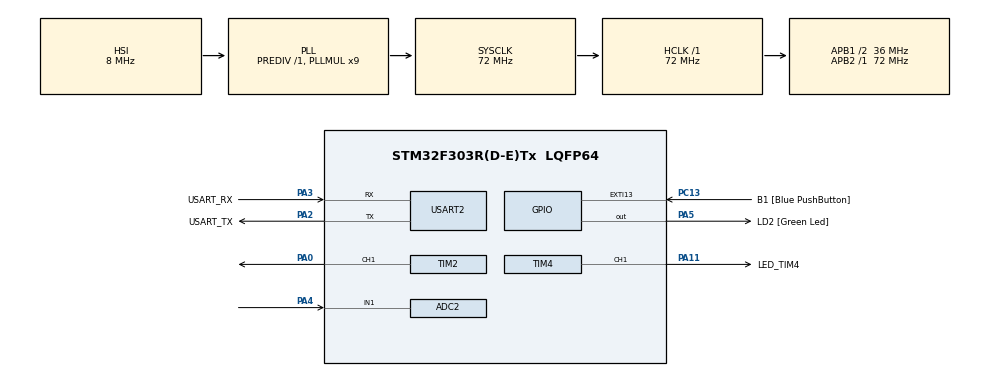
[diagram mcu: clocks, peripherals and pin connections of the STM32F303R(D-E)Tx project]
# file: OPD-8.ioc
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ADC2.Channel-1\#ChannelRegularConversion=ADC_CHANNEL_1
ADC2.NbrOfConversionFlag=1
ADC2.Offset-1\#ChannelRegularConversion=0
ADC2.OffsetNumber-1\#ChannelRegularConversion=ADC_OFFSET_NONE
ADC2.Rank-1\#ChannelRegularConversion=1
ADC2.SamplingTime-1\#ChannelRegularConversion=ADC_SAMPLETIME_1CYCLE_5
ADC2.SamplingTimeOPAMP-1\#ChannelRegularConversion=ADC_SAMPLETIME_61CYCLES_5
Mcu.Family=STM32F3
Mcu.Name=STM32F303R(D-E)Tx
Mcu.Package=LQFP64
NVIC.PriorityGroup=NVIC_PRIORITYGROUP_4
NVIC.TIM2_IRQn=true\:0\:0\:false\:false\:true\:true\:true\:true
PA0.Signal=S_TIM2_CH1_ETR
PA11.GPIO_Label=LED_TIM4
PA11.GPIO_Mode=GPIO_MODE_AF_PP
PA11.GPIO_PuPd=GPIO_NOPULL
PA11.GPIO_Speed=GPIO_SPEED_FREQ_LOW
PA11.Signal=S_TIM4_CH1
PA13.GPIO_Label=TMS
PA13.Mode=Serial_Wire
PA13.Signal=SYS_JTMS-SWDIO
PA14.GPIO_Label=TCK
PA14.Mode=Serial_Wire
PA14.Signal=SYS_JTCK-SWCLK
PA2.GPIO_Label=USART_TX
PA2.GPIO_Mode=GPIO_MODE_AF_PP
PA2.GPIO_PuPd=GPIO_NOPULL
PA2.GPIO_Speed=GPIO_SPEED_FREQ_LOW
PA2.Mode=Asynchronous
PA2.Signal=USART2_TX
PA3.GPIO_Label=USART_RX
PA3.GPIO_Mode=GPIO_MODE_AF_PP
PA3.GPIO_PuPd=GPIO_NOPULL
PA3.GPIO_Speed=GPIO_SPEED_FREQ_LOW
PA3.Mode=Asynchronous
PA3.Signal=USART2_RX
PA4.Mode=IN1-Single-Ended
PA4.Signal=ADC2_IN1
PA5.GPIO_Label=LD2 [Green Led]
PA5.GPIO_Mode=GPIO_MODE_OUTPUT_PP
PA5.GPIO_PuPd=GPIO_NOPULL
PA5.GPIO_Speed=GPIO_SPEED_FREQ_LOW
PA5.Signal=GPIO_Output
PC13.GPIO_Label=B1 [Blue PushButton]
PC13.GPIO_ModeDefaultEXTI=GPIO_MODE_IT_FALLING
PC13.Signal=GPXTI13
PC14-OSC32_IN.Mode=LSE-External-Oscillator
PC14-OSC32_IN.Signal=RCC_OSC32_IN
PC15-OSC32_OUT.Mode=LSE-External-Oscillator
PC15-OSC32_OUT.Signal=RCC_OSC32_OUT
PF0-OSC_IN.Mode=HSE-External-Clock-Source
PF0-OSC_IN.Signal=RCC_OSC_IN
PF1-OSC_OUT.Signal=RCC_OSC_OUT
ProjectManager.HeapSize=0x200
ProjectManager.StackSize=0x400
ProjectManager.TargetToolchain=STM32CubeIDE
RCC.AHBFreq_Value=72000000
RCC.APB1CLKDivider=RCC_HCLK_DIV2
RCC.APB1Freq_Value=36000000
RCC.APB1TimFreq_Value=72000000
RCC.APB2Freq_Value=72000000
RCC.APB2TimFreq_Value=72000000
RCC.CortexFreq_Value=72000000
RCC.HCLKFreq_Value=72000000
RCC.HSE_VALUE=8000000
RCC.HSI_VALUE=8000000
RCC.PLLM=8
RCC.PLLMUL=RCC_PLL_MUL9
RCC.PLLN=336
RCC.PLLP=RCC_PLLP_DIV4
RCC.PLLQ=7
RCC.RCC_PLLsource_Clock_Source_FROM_HSE=RCC_HSE_PREDIV_DIV2
RCC.SYSCLKFreq_VALUE=72000000
RCC.SYSCLKSourceVirtual=RCC_SYSCLKSOURCE_PLLCLK
RCC.USBFreq_Value=72000000
SH.S_TIM2_CH1_ETR.0=TIM2_CH1,PWM Generation1 CH1
SH.S_TIM4_CH1.0=TIM4_CH1,PWM Generation1 CH1
TIM2.Channel-PWM\ Generation1\ CH1=TIM_CHANNEL_1
TIM2.Period=9999
TIM2.Prescaler=71
TIM2.Pulse-PWM\ Generation1\ CH1=10000
TIM4.Channel-PWM\ Generation1\ CH1=TIM_CHANNEL_1
TIM4.Period=65399
TIM4.Prescaler=10
TIM4.Pulse-PWM\ Generation1\ CH1=0
USART2.VirtualMode-Asynchronous=VM_ASYNC
VP_TIM2_VS_ClockSourceINT.Mode=Internal
board=NUCLEO-F303RE

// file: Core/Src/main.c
/* USER CODE BEGIN Header */
/**
  ******************************************************************************
  * @file           : main.c
  * @brief          : Main program body
  ******************************************************************************
  * @attention
  *
  * Copyright (c) 2026 STMicroelectronics.
  * All rights reserved.
  *
  * This software is licensed under terms that can be found in the LICENSE file
  * in the root directory of this software component.
  * If no LICENSE file comes with this software, it is provided AS-IS.
  *
  ******************************************************************************
  */
/* USER CODE END Header */
#include "main.h"

/* USER CODE BEGIN PD */
#define TIM2_PWM_PSC        71U
#define TIM2_PWM_ARR        9999U
#define TIM2_PWM_START_CCR  1000U

/*
 * Stage values:
 * - 0.1 Hz: PSC=7199, ARR=99999, CCR=10000 (10%)
 * - 1   Hz: PSC=719,  ARR=99999, CCR=10000 (10%)
 * - 100 Hz: PSC=71,   ARR=9999,  CCR from potentiometer
 */

/* USER CODE END PD */

ADC_HandleTypeDef hadc2;

TIM_HandleTypeDef htim2;
TIM_HandleTypeDef htim4;

UART_HandleTypeDef huart2;

void SystemClock_Config(void);
static void MX_GPIO_Init(void);
static void MX_USART2_UART_Init(void);
static void MX_TIM4_Init(void);
static void MX_TIM2_Init(void);
static void MX_ADC2_Init(void);

int main(void)
{

  /* MCU Configuration--------------------------------------------------------*/

  /* Reset of all peripherals, Initializes the Flash interface and the Systick. */
  HAL_Init();

  /* Configure the system clock */
  SystemClock_Config();

  /* Initialize all configured peripherals */
  MX_GPIO_Init();
  MX_USART2_UART_Init();
  MX_TIM4_Init();
  MX_TIM2_Init();
  MX_ADC2_Init();
  /* USER CODE BEGIN 2 */
  HAL_ADCEx_Calibration_Start(&hadc2, ADC_SINGLE_ENDED);
  HAL_TIM_PWM_Start(&htim2, TIM_CHANNEL_1);
  /* USER CODE END 2 */

  /* Infinite loop */
  /* USER CODE BEGIN WHILE */
  while (1)
  {
    uint32_t pot_value;
    uint32_t arr;
    uint32_t duty;

    HAL_ADC_Start(&hadc2);
    HAL_ADC_PollForConversion(&hadc2, HAL_MAX_DELAY);
    pot_value = HAL_ADC_GetValue(&hadc2);

    arr = __HAL_TIM_GET_AUTORELOAD(&htim2);
    duty = (pot_value * arr) / 4095U;
    __HAL_TIM_SET_COMPARE(&htim2, TIM_CHANNEL_1, duty);

    HAL_Delay(20);
    /* USER CODE END WHILE */

  }
}

void SystemClock_Config(void)
{
  RCC_OscInitTypeDef RCC_OscInitStruct = {0};
  RCC_ClkInitTypeDef RCC_ClkInitStruct = {0};
  RCC_PeriphCLKInitTypeDef PeriphClkInit = {0};

  /** Initializes the RCC Oscillators according to the specified parameters
  * in the RCC_OscInitTypeDef structure.
  */
  RCC_OscInitStruct.OscillatorType = RCC_OSCILLATORTYPE_HSI;
  RCC_OscInitStruct.HSIState = RCC_HSI_ON;
  RCC_OscInitStruct.HSICalibrationValue = RCC_HSICALIBRATION_DEFAULT;
  RCC_OscInitStruct.PLL.PLLState = RCC_PLL_ON;
  RCC_OscInitStruct.PLL.PLLSource = RCC_PLLSOURCE_HSI;
  RCC_OscInitStruct.PLL.PLLMUL = RCC_PLL_MUL9;
  RCC_OscInitStruct.PLL.PREDIV = RCC_PREDIV_DIV1;
  if (HAL_RCC_OscConfig(&RCC_OscInitStruct) != HAL_OK)
  {
    Error_Handler();
  }

  /** Initializes the CPU, AHB and APB buses clocks
  */
  RCC_ClkInitStruct.ClockType = RCC_CLOCKTYPE_HCLK|RCC_CLOCKTYPE_SYSCLK
                              |RCC_CLOCKTYPE_PCLK1|RCC_CLOCKTYPE_PCLK2;
  RCC_ClkInitStruct.SYSCLKSource = RCC_SYSCLKSOURCE_PLLCLK;
  RCC_ClkInitStruct.AHBCLKDivider = RCC_SYSCLK_DIV1;
  RCC_ClkInitStruct.APB1CLKDivider = RCC_HCLK_DIV2;
  RCC_ClkInitStruct.APB2CLKDivider = RCC_HCLK_DIV1;

  if (HAL_RCC_ClockConfig(&RCC_ClkInitStruct, FLASH_LATENCY_2) != HAL_OK)
  {
    Error_Handler();
  }
  PeriphClkInit.PeriphClockSelection = RCC_PERIPHCLK_USART2|RCC_PERIPHCLK_ADC12
                              |RCC_PERIPHCLK_TIM2|RCC_PERIPHCLK_TIM34;
  PeriphClkInit.Usart2ClockSelection = RCC_USART2CLKSOURCE_PCLK1;
  PeriphClkInit.Adc12ClockSelection = RCC_ADC12PLLCLK_DIV1;
  PeriphClkInit.Tim2ClockSelection = RCC_TIM2CLK_HCLK;
  PeriphClkInit.Tim34ClockSelection = RCC_TIM34CLK_HCLK;
  if (HAL_RCCEx_PeriphCLKConfig(&PeriphClkInit) != HAL_OK)
  {
    Error_Handler();
  }
}

static void MX_ADC2_Init(void)
{

  ADC_ChannelConfTypeDef sConfig = {0};

  /** Common config
  */
  hadc2.Instance = ADC2;
  hadc2.Init.ClockPrescaler = ADC_CLOCK_ASYNC_DIV1;
  hadc2.Init.Resolution = ADC_RESOLUTION_12B;
  hadc2.Init.ScanConvMode = ADC_SCAN_DISABLE;
  hadc2.Init.ContinuousConvMode = DISABLE;
  hadc2.Init.DiscontinuousConvMode = DISABLE;
  hadc2.Init.ExternalTrigConvEdge = ADC_EXTERNALTRIGCONVEDGE_NONE;
  hadc2.Init.ExternalTrigConv = ADC_SOFTWARE_START;
  hadc2.Init.DataAlign = ADC_DATAALIGN_RIGHT;
  hadc2.Init.NbrOfConversion = 1;
  hadc2.Init.DMAContinuousRequests = DISABLE;
  hadc2.Init.EOCSelection = ADC_EOC_SINGLE_CONV;
  hadc2.Init.LowPowerAutoWait = DISABLE;
  hadc2.Init.Overrun = ADC_OVR_DATA_OVERWRITTEN;
  if (HAL_ADC_Init(&hadc2) != HAL_OK)
  {
    Error_Handler();
  }

  /** Configure Regular Channel
  */
  sConfig.Channel = ADC_CHANNEL_1;
  sConfig.Rank = ADC_REGULAR_RANK_1;
  sConfig.SingleDiff = ADC_SINGLE_ENDED;
  sConfig.SamplingTime = ADC_SAMPLETIME_1CYCLE_5;
  sConfig.OffsetNumber = ADC_OFFSET_NONE;
  sConfig.Offset = 0;
  if (HAL_ADC_ConfigChannel(&hadc2, &sConfig) != HAL_OK)
  {
    Error_Handler();
  }

}

static void MX_TIM2_Init(void)
{

  TIM_ClockConfigTypeDef sClockSourceConfig = {0};
  TIM_MasterConfigTypeDef sMasterConfig = {0};
  TIM_OC_InitTypeDef sConfigOC = {0};

  htim2.Instance = TIM2;
  htim2.Init.Prescaler = 71;
  htim2.Init.CounterMode = TIM_COUNTERMODE_UP;
  htim2.Init.Period = 9999;
  htim2.Init.ClockDivision = TIM_CLOCKDIVISION_DIV1;
  htim2.Init.AutoReloadPreload = TIM_AUTORELOAD_PRELOAD_DISABLE;
  if (HAL_TIM_Base_Init(&htim2) != HAL_OK)
  {
    Error_Handler();
  }
  sClockSourceConfig.ClockSource = TIM_CLOCKSOURCE_INTERNAL;
  if (HAL_TIM_ConfigClockSource(&htim2, &sClockSourceConfig) != HAL_OK)
  {
    Error_Handler();
  }
  if (HAL_TIM_PWM_Init(&htim2) != HAL_OK)
  {
    Error_Handler();
  }
  sMasterConfig.MasterOutputTrigger = TIM_TRGO_RESET;
  sMasterConfig.MasterSlaveMode = TIM_MASTERSLAVEMODE_DISABLE;
  if (HAL_TIMEx_MasterConfigSynchronization(&htim2, &sMasterConfig) != HAL_OK)
  {
    Error_Handler();
  }
  sConfigOC.OCMode = TIM_OCMODE_PWM1;
  sConfigOC.Pulse = 10000;
  sConfigOC.OCPolarity = TIM_OCPOLARITY_HIGH;
  sConfigOC.OCFastMode = TIM_OCFAST_DISABLE;
  if (HAL_TIM_PWM_ConfigChannel(&htim2, &sConfigOC, TIM_CHANNEL_1) != HAL_OK)
  {
    Error_Handler();
  }
  HAL_TIM_MspPostInit(&htim2);

}

static void MX_TIM4_Init(void)
{

  TIM_MasterConfigTypeDef sMasterConfig = {0};
  TIM_OC_InitTypeDef sConfigOC = {0};

  htim4.Instance = TIM4;
  htim4.Init.Prescaler = 10;
  htim4.Init.CounterMode = TIM_COUNTERMODE_UP;
  htim4.Init.Period = 65399;
  htim4.Init.ClockDivision = TIM_CLOCKDIVISION_DIV1;
  htim4.Init.AutoReloadPreload = TIM_AUTORELOAD_PRELOAD_DISABLE;
  if (HAL_TIM_PWM_Init(&htim4) != HAL_OK)
  {
    Error_Handler();
  }
  sMasterConfig.MasterOutputTrigger = TIM_TRGO_RESET;
  sMasterConfig.MasterSlaveMode = TIM_MASTERSLAVEMODE_DISABLE;
  if (HAL_TIMEx_MasterConfigSynchronization(&htim4, &sMasterConfig) != HAL_OK)
  {
    Error_Handler();
  }
  sConfigOC.OCMode = TIM_OCMODE_PWM1;
  sConfigOC.Pulse = 0;
  sConfigOC.OCPolarity = TIM_OCPOLARITY_HIGH;
  sConfigOC.OCFastMode = TIM_OCFAST_DISABLE;
  if (HAL_TIM_PWM_ConfigChannel(&htim4, &sConfigOC, TIM_CHANNEL_1) != HAL_OK)
  {
    Error_Handler();
  }
  HAL_TIM_MspPostInit(&htim4);

}

static void MX_USART2_UART_Init(void)
{

  huart2.Instance = USART2;
  huart2.Init.BaudRate = 38400;
  huart2.Init.WordLength = UART_WORDLENGTH_8B;
  huart2.Init.StopBits = UART_STOPBITS_1;
  huart2.Init.Parity = UART_PARITY_NONE;
  huart2.Init.Mode = UART_MODE_TX_RX;
  huart2.Init.HwFlowCtl = UART_HWCONTROL_NONE;
  huart2.Init.OverSampling = UART_OVERSAMPLING_16;
  huart2.Init.OneBitSampling = UART_ONE_BIT_SAMPLE_DISABLE;
  huart2.AdvancedInit.AdvFeatureInit = UART_ADVFEATURE_NO_INIT;
  if (HAL_UART_Init(&huart2) != HAL_OK)
  {
    Error_Handler();
  }

}

static void MX_GPIO_Init(void)
{
  GPIO_InitTypeDef GPIO_InitStruct = {0};

  /* GPIO Ports Clock Enable */
  __HAL_RCC_GPIOC_CLK_ENABLE();
  __HAL_RCC_GPIOF_CLK_ENABLE();
  __HAL_RCC_GPIOA_CLK_ENABLE();

  /*Configure GPIO pin Output Level */
  HAL_GPIO_WritePin(LD2_GPIO_Port, LD2_Pin, GPIO_PIN_RESET);

  /*Configure GPIO pin : B1_Pin */
  GPIO_InitStruct.Pin = B1_Pin;
  GPIO_InitStruct.Mode = GPIO_MODE_IT_FALLING;
  GPIO_InitStruct.Pull = GPIO_NOPULL;
  HAL_GPIO_Init(B1_GPIO_Port, &GPIO_InitStruct);

  /*Configure GPIO pin : LD2_Pin */
  GPIO_InitStruct.Pin = LD2_Pin;
  GPIO_InitStruct.Mode = GPIO_MODE_OUTPUT_PP;
  GPIO_InitStruct.Pull = GPIO_NOPULL;
  GPIO_InitStruct.Speed = GPIO_SPEED_FREQ_LOW;
  HAL_GPIO_Init(LD2_GPIO_Port, &GPIO_InitStruct);

}

void Error_Handler(void)
{
  __disable_irq();
  while (1)
  {
  }
}
